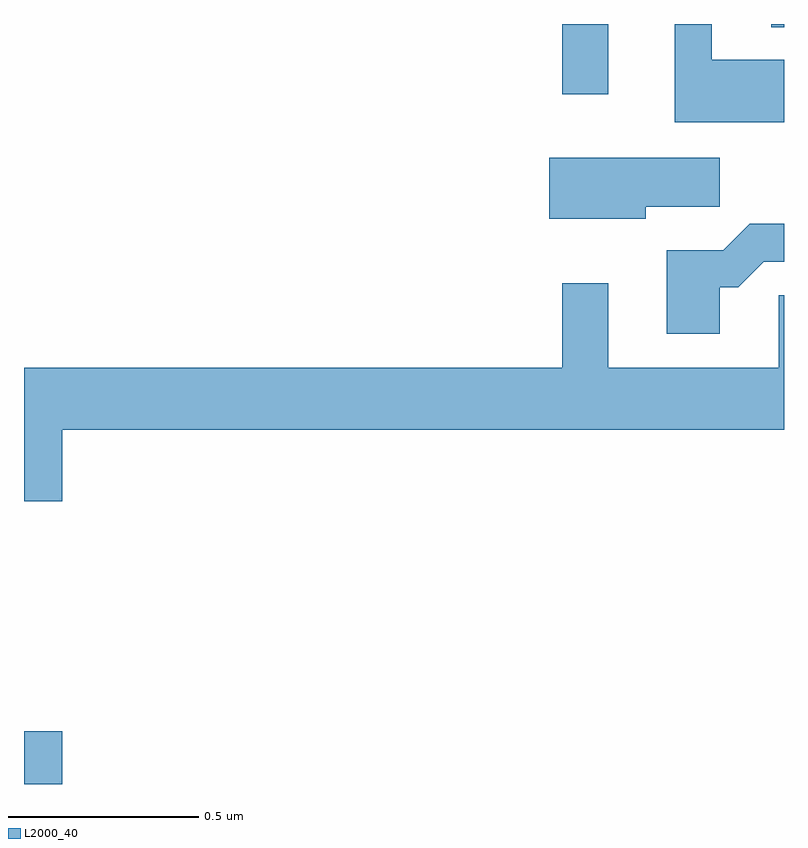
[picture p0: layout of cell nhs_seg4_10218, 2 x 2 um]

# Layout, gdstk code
import gdstk
lib = gdstk.Library(unit=1e-6, precision=1e-09)
def R(c, l, rs):  # rectangles x0, y0, x1, y1
    for r in rs: c.add(gdstk.rectangle(r[:2], r[2:], *l))
def P(c, l, *ps):  # polygons
    for p in ps: c.add(gdstk.Polygon(p, *l))
L2000_40 = (2000, 40)

nhs_seg4_10218 = lib.new_cell('nhs_seg4_10218')
R(nhs_seg4_10218, L2000_40, [(237,783.9,237.1,784.039), (238.416,785.715,238.537,785.9), (238.967,785.891,239,785.9)])
P(nhs_seg4_10218, L2000_40, [(239,785.806),(238.81,785.806),(238.81,785.9),(238.712,785.9),(238.712,785.642),(239,785.642)],
  [(238.636,785.419),(238.831,785.419),(238.831,785.548),(238.382,785.548),(238.382,785.387),(238.636,785.387)],
  [(238.831,785.207),(238.88,785.207),(238.947,785.274),(239,785.274),(239,785.375),(238.91,785.375),(238.84,785.305),(238.691,785.305),(238.691,785.085),(238.831,785.085)],
  [(237.1,784.832),(239,784.832),(239,785.186),(238.986,785.186),(238.986,784.996),(238.537,784.996),(238.537,785.218),(238.416,785.218),(238.416,784.996),(237,784.996),(237,784.644),(237.1,784.644)])

lib.write_gds('nhs_seg4_10218.gds')
